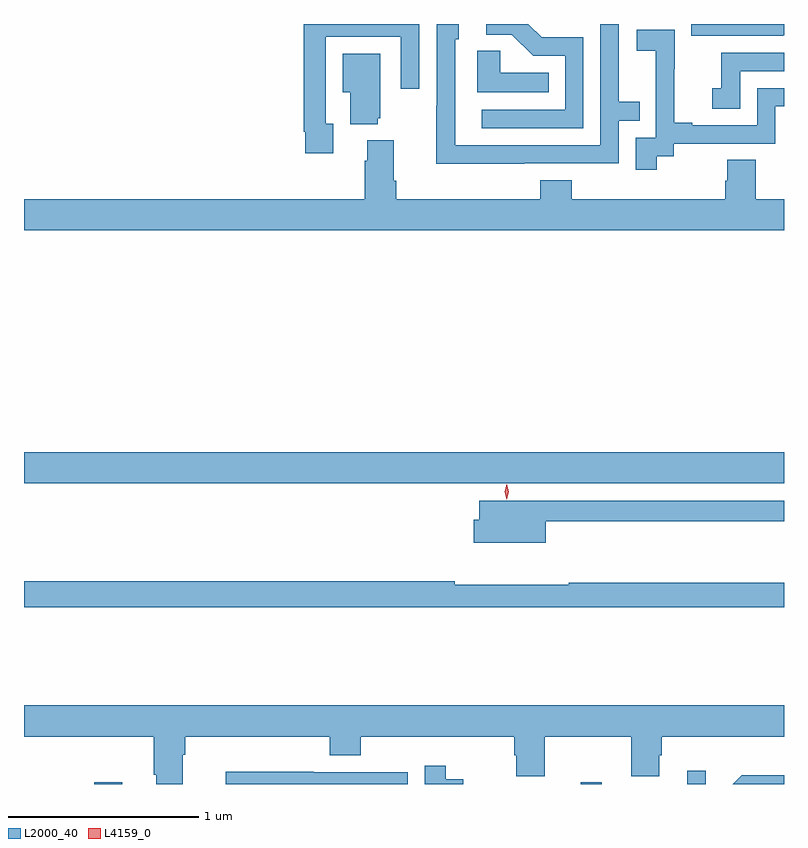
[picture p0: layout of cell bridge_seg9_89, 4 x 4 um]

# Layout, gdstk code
import gdstk
lib = gdstk.Library(unit=1e-6, precision=1e-09)
def R(c, l, rs):  # rectangles x0, y0, x1, y1
    for r in rs: c.add(gdstk.rectangle(r[:2], r[2:], *l))
def P(c, l, *ps):  # polygons
    for p in ps: c.add(gdstk.Polygon(p, *l))
L2000_40 = (2000, 40)
L4159_0 = (4159, 0)

bridge_seg9_89 = lib.new_cell('bridge_seg9_89')
R(bridge_seg9_89, L2000_40, [(801.597,1230.802,801.745,1230.811), (804.157,1230.802,804.268,1230.811), (804.719,1230.802,804.816,1230.871), (801.227,1232.384,805.227,1232.548)])
P(bridge_seg9_89, L2000_40, [(804.171,1234.731),(803.952,1234.731),(803.881,1234.802),(803.661,1234.802),(803.661,1234.746),(803.795,1234.746),(803.906,1234.635),(804.075,1234.635),(804.075,1234.35),(803.637,1234.35),(803.637,1234.254),(804.171,1234.254)],
  [(805.227,1234.743),(805.227,1234.802),(804.738,1234.802),(804.738,1234.74),(805.224,1234.74)],
  [(803.861,1234.068),(804.357,1234.068),(804.357,1234.293),(804.467,1234.293),(804.467,1234.394),(804.357,1234.394),(804.357,1234.802),(804.261,1234.802),(804.261,1234.164),(803.496,1234.164),(803.496,1234.722),(803.515,1234.722),(803.515,1234.802),(803.4,1234.802),(803.4,1234.373),(803.398,1234.373),(803.398,1234.067),(803.861,1234.067)],
  [(802.855,1234.278),(802.815,1234.278),(802.815,1234.734),(803.211,1234.734),(803.211,1234.461),(803.307,1234.461),(803.307,1234.802),(802.699,1234.802),(802.699,1234.234),(802.707,1234.234),(802.707,1234.122),(802.855,1234.122)],
  [(804.556,1234.105),(804.648,1234.105),(804.648,1234.173),(805.182,1234.173),(805.182,1234.368),(805.227,1234.368),(805.227,1234.464),(805.086,1234.464),(805.086,1234.269),(804.745,1234.269),(804.745,1234.282),(804.65,1234.282),(804.65,1234.565),(804.651,1234.565),(804.651,1234.771),(804.453,1234.771),(804.453,1234.661),(804.551,1234.661),(804.551,1234.433),(804.552,1234.433),(804.552,1234.203),(804.447,1234.203),(804.447,1234.035),(804.556,1234.035)],
  [(803.99,1234.546),(803.733,1234.546),(803.733,1234.661),(803.612,1234.661),(803.612,1234.442),(803.99,1234.442)],
  [(804.996,1234.554),(805.227,1234.554),(805.227,1234.65),(804.898,1234.65),(804.898,1234.465),(804.849,1234.465),(804.849,1234.356),(804.996,1234.356)],
  [(803.09,1234.305),(803.101,1234.305),(803.101,1234.645),(802.904,1234.645),(802.904,1234.442),(802.943,1234.442),(802.943,1234.274),(803.09,1234.274)],
  [(805.227,1233.88),(805.077,1233.88),(805.077,1234.088),(804.929,1234.088),(804.929,1233.978),(804.917,1233.978),(804.917,1233.88),(804.11,1233.88),(804.11,1233.979),(803.945,1233.979),(803.945,1233.88),(803.186,1233.88),(803.186,1233.976),(803.173,1233.976),(803.173,1234.189),(803.033,1234.189),(803.033,1234.082),(803.021,1234.082),(803.021,1233.88),(801.227,1233.88),(801.227,1233.716),(805.227,1233.716)],
  [(803.974,1232.184),(805.227,1232.184),(805.227,1232.292),(803.87,1232.292),(803.87,1232.293),(803.624,1232.293),(803.624,1232.194),(803.594,1232.194),(803.594,1232.072),(803.974,1232.072)],
  [(805.227,1231.861),(804.094,1231.861),(804.094,1231.851),(803.494,1231.851),(803.494,1231.868),(801.227,1231.868),(801.227,1231.732),(805.227,1231.732)],
  [(802.063,1230.956),(802.076,1230.956),(802.076,1231.052),(802.835,1231.052),(802.835,1230.953),(803,1230.953),(803,1231.052),(803.807,1231.052),(803.807,1230.954),(803.819,1230.954),(803.819,1230.844),(803.967,1230.844),(803.967,1231.052),(804.424,1231.052),(804.424,1230.844),(804.571,1230.844),(804.571,1230.954),(804.584,1230.954),(804.584,1231.052),(805.227,1231.052),(805.227,1231.216),(801.227,1231.216),(801.227,1231.052),(801.911,1231.052),(801.911,1230.85),(801.923,1230.85),(801.923,1230.802),(802.063,1230.802)],
  [(803.538,1230.828),(803.446,1230.828),(803.446,1230.898),(803.337,1230.898),(803.337,1230.802),(803.538,1230.802)],
  [(803.247,1230.864),(802.751,1230.864),(802.751,1230.866),(802.288,1230.866),(802.288,1230.802),(803.247,1230.802)],
  [(805.227,1230.848),(805.004,1230.848),(804.958,1230.802),(805.227,1230.802)])
P(bridge_seg9_89, L4159_0, [(803.768,1232.299),(803.768,1232.3),(803.758,1232.339),(803.768,1232.379),(803.768,1232.379),(803.768,1232.379),(803.778,1232.339),(803.768,1232.3)])

lib.write_gds('bridge_seg9_89.gds')
